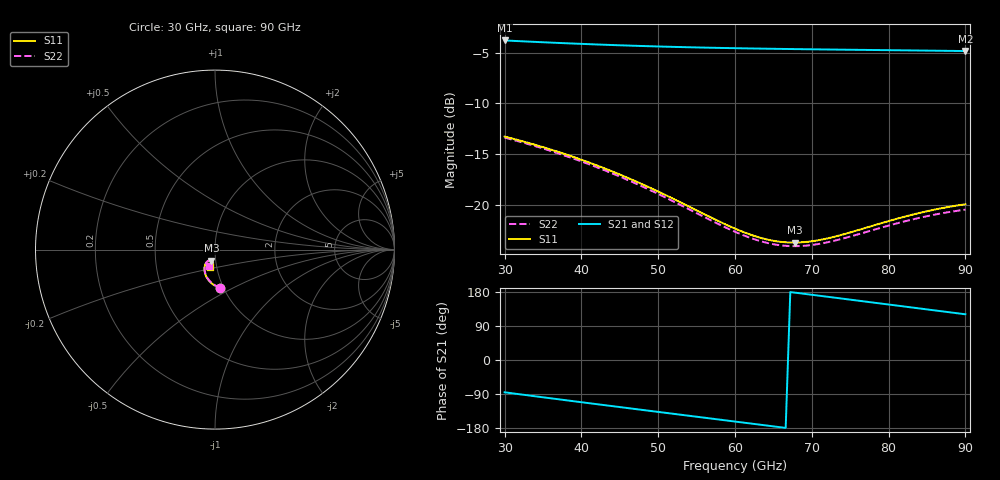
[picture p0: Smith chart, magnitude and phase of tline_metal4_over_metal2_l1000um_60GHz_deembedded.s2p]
! Created with skrf 2.0.1 (http://scikit-rf.org).
# GHz S DB R 50.0
!freq dBS11 angS11 dBS21 angS21 dBS12 angS12 dBS22 angS22
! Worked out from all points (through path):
!   101 points, 30 GHz to 90 GHz, reference 50 ohm
!   highest |S21| = -3.80 dB at 30 GHz (marker M1); lowest = -4.8 dB at 90 GHz (marker M2)
!   group delay of S21, straight-line fit = 7.11 ps
!   lowest |S11| = -23.7 dB at 67.8 GHz (marker M3), VSWR 1.14, Z = 47.7 - j5.94 ohm
!   |S11| at or under -10 dB: start of sweep to end of sweep
!   |S22| runs from -24.1 to -13.4 dB; largest |S21 - S12| = 6.9e-14
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30  -13.27 -82.2  -3.80 -85.2  -3.80 -85.2  -13.37 -82.2
32.4  -13.75 -88.0  -3.88 -91.6  -3.88 -91.6  -13.86 -88.1
34.8  -14.26 -93.6  -3.97 -97.9  -3.97 -97.9  -14.40 -93.7
37.2  -14.83 -98.9  -4.05 -104.1  -4.05 -104.1  -14.98 -99.0
40.2  -15.60 -105.0  -4.14 -111.9  -4.14 -111.9  -15.77 -105.3
45  -17.01 -113.6  -4.27 -124.2  -4.27 -124.2  -17.21 -113.9
48  -17.99 -117.9  -4.35 -131.9  -4.35 -131.9  -18.21 -118.3
50.4  -18.83 -120.6  -4.40 -138.0  -4.40 -138.0  -19.07 -121.0
55.2  -20.61 -123.2  -4.49 -150.2  -4.49 -150.2  -20.89 -123.8
57.6  -21.51 -122.8  -4.53 -156.3  -4.53 -156.3  -21.80 -123.5
60  -22.34 -121.1  -4.56 -162.4  -4.56 -162.4  -22.65 -121.9
62.4  -23.03 -118.0  -4.59 -168.5  -4.59 -168.5  -23.36 -118.9
64.2  -23.41 -114.9  -4.61 -173.1  -4.61 -173.1  -23.75 -115.9
66  -23.64 -111.5  -4.63 -177.7  -4.63 -177.7  -23.99 -112.6
67.8  -23.71 -108.0  -4.65 177.7  -4.65 177.7  -24.07 -109.2
70.2  -23.56 -103.8  -4.67 171.6  -4.67 171.6  -23.93 -105.1
72.6  -23.20 -100.5  -4.69 165.4  -4.69 165.4  -23.59 -102.0
75  -22.71 -98.5  -4.71 159.3  -4.71 159.3  -23.12 -100.1
77.4  -22.18 -97.8  -4.73 153.1  -4.73 153.1  -22.60 -99.5
80.4  -21.51 -98.4  -4.76 145.4  -4.76 145.4  -21.96 -100.3
85.2  -20.59 -101.9  -4.80 133.0  -4.80 133.0  -21.08 -104.1
90  -19.94 -107.4  -4.84 120.6  -4.84 120.6  -20.47 -109.9
